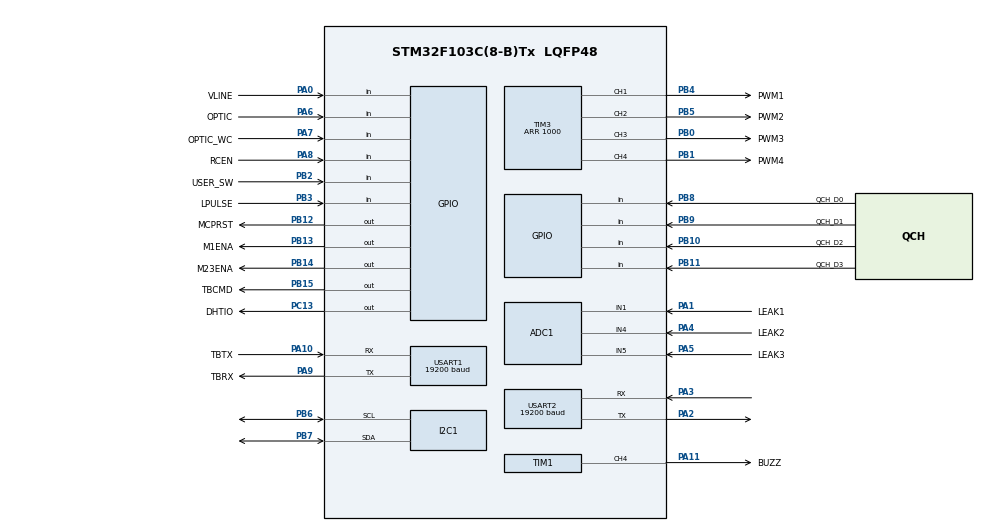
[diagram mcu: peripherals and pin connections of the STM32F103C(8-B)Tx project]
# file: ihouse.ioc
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ADC1.Channel-0\#ChannelRegularConversion=ADC_CHANNEL_1
ADC1.NbrOfConversionFlag=1
ADC1.Rank-0\#ChannelRegularConversion=1
ADC1.SamplingTime-0\#ChannelRegularConversion=ADC_SAMPLETIME_1CYCLE_5
ADC1.master=1
I2C1.DualAddressMode=I2C_DUALADDRESS_DISABLE
Mcu.Family=STM32F1
Mcu.Name=STM32F103C(8-B)Tx
Mcu.Package=LQFP48
NVIC.PriorityGroup=NVIC_PRIORITYGROUP_4
NVIC.TIM1_UP_IRQn=true\:0\:0\:false\:false\:true\:true\:true
NVIC.USART1_IRQn=true\:0\:0\:false\:false\:true\:true\:true
NVIC.USART2_IRQn=true\:0\:0\:false\:false\:true\:true\:true
PA0-WKUP.GPIO_Label=VLINE
PA0-WKUP.GPIO_PuPd=GPIO_PULLUP
PA0-WKUP.Signal=GPIO_Input
PA1.GPIO_Label=LEAK1
PA1.Signal=ADCx_IN1
PA10.GPIO_Label=TBTX
PA10.Mode=Asynchronous
PA10.Signal=USART1_RX
PA11.GPIO_Label=BUZZ
PA11.Signal=S_TIM1_CH4
PA13.Mode=Serial_Wire
PA13.Signal=SYS_JTMS-SWDIO
PA14.Mode=Serial_Wire
PA14.Signal=SYS_JTCK-SWCLK
PA2.Mode=Asynchronous
PA2.Signal=USART2_TX
PA3.Mode=Asynchronous
PA3.Signal=USART2_RX
PA4.GPIO_Label=LEAK2
PA4.Signal=ADCx_IN4
PA5.GPIO_Label=LEAK3
PA5.Signal=ADCx_IN5
PA6.GPIO_Label=OPTIC
PA6.GPIO_PuPd=GPIO_PULLUP
PA6.Signal=GPIO_Input
PA7.GPIO_Label=OPTIC_WC
PA7.GPIO_PuPd=GPIO_PULLUP
PA7.Signal=GPIO_Input
PA8.GPIO_Label=RCEN
PA8.GPIO_PuPd=GPIO_PULLUP
PA8.Signal=GPIO_Input
PA9.GPIO_Label=TBRX
PA9.Mode=Asynchronous
PA9.Signal=USART1_TX
PB0.GPIO_Label=PWM3
PB0.Signal=S_TIM3_CH3
PB1.GPIO_Label=PWM4
PB1.Signal=S_TIM3_CH4
PB10.GPIO_Label=QCH_D2
PB10.GPIO_PuPd=GPIO_PULLUP
PB10.Signal=GPIO_Input
PB11.GPIO_Label=QCH_D3
PB11.GPIO_PuPd=GPIO_PULLUP
PB11.Signal=GPIO_Input
PB12.GPIO_Label=MCPRST
PB12.GPIO_ModeDefaultOutputPP=GPIO_MODE_OUTPUT_PP
PB12.GPIO_PuPd=GPIO_NOPULL
PB12.PinState=GPIO_PIN_SET
PB12.Signal=GPIO_Output
PB13.GPIO_Label=M1ENA
PB13.GPIO_PuPd=GPIO_NOPULL
PB13.PinState=GPIO_PIN_SET
PB13.Signal=GPIO_Output
PB14.GPIO_Label=M23ENA
PB14.PinState=GPIO_PIN_SET
PB14.Signal=GPIO_Output
PB15.GPIO_Label=TBCMD
PB15.GPIO_ModeDefaultOutputPP=GPIO_MODE_OUTPUT_PP
PB15.PinState=GPIO_PIN_SET
PB15.Signal=GPIO_Output
PB2.GPIO_Label=USER_SW
PB2.GPIO_PuPd=GPIO_PULLUP
PB2.Signal=GPIO_Input
PB3.GPIO_Label=LPULSE
PB3.GPIO_PuPd=GPIO_PULLUP
PB3.Signal=GPIO_Input
PB4.GPIO_Label=PWM1
PB4.Signal=S_TIM3_CH1
PB5.GPIO_Label=PWM2
PB5.Signal=S_TIM3_CH2
PB6.Mode=I2C
PB6.Signal=I2C1_SCL
PB7.Mode=I2C
PB7.Signal=I2C1_SDA
PB8.GPIO_Label=QCH_D0
PB8.GPIO_PuPd=GPIO_PULLUP
PB8.Signal=GPIO_Input
PB9.GPIO_Label=QCH_D1
PB9.GPIO_PuPd=GPIO_PULLUP
PB9.Signal=GPIO_Input
PC13-TAMPER-RTC.GPIO_Label=DHTIO
PC13-TAMPER-RTC.GPIO_PuPd=GPIO_NOPULL
PC13-TAMPER-RTC.GPIO_Speed=GPIO_SPEED_FREQ_HIGH
PC13-TAMPER-RTC.PinState=GPIO_PIN_SET
PC13-TAMPER-RTC.Signal=GPIO_Output
PC14-OSC32_IN.Mode=LSE-External-Oscillator
PC14-OSC32_IN.Signal=RCC_OSC32_IN
PC15-OSC32_OUT.Mode=LSE-External-Oscillator
PC15-OSC32_OUT.Signal=RCC_OSC32_OUT
PD0-OSC_IN.Mode=HSE-External-Oscillator
PD0-OSC_IN.Signal=RCC_OSC_IN
PD1-OSC_OUT.Mode=HSE-External-Oscillator
PD1-OSC_OUT.Signal=RCC_OSC_OUT
ProjectManager.HeapSize=0x200
ProjectManager.StackSize=0x400
ProjectManager.TargetToolchain=Other Toolchains (GPDSC)
RCC.ADCPresc=RCC_ADCPCLK2_DIV8
RCC.AHBFreq_Value=48000000
RCC.APB1CLKDivider=RCC_HCLK_DIV2
RCC.APB1Freq_Value=24000000
RCC.APB1TimFreq_Value=48000000
RCC.APB2Freq_Value=48000000
RCC.APB2TimFreq_Value=48000000
RCC.HCLKFreq_Value=48000000
RCC.PLLMUL=RCC_PLL_MUL6
RCC.PLLSourceVirtual=RCC_PLLSOURCE_HSE
RCC.RTCClockSelection=RCC_RTCCLKSOURCE_LSE
RCC.SYSCLKFreq_VALUE=48000000
RCC.SYSCLKSource=RCC_SYSCLKSOURCE_PLLCLK
RCC.USBFreq_Value=48000000
SH.ADCx_IN1.0=ADC1_IN1,IN1
SH.ADCx_IN4.0=ADC1_IN4,IN4
SH.ADCx_IN5.0=ADC1_IN5,IN5
SH.S_TIM1_CH4.0=TIM1_CH4,PWM Generation4 CH4
SH.S_TIM3_CH1.0=TIM3_CH1,PWM Generation1 CH1
SH.S_TIM3_CH2.0=TIM3_CH2,PWM Generation2 CH2
SH.S_TIM3_CH3.0=TIM3_CH3,PWM Generation3 CH3
SH.S_TIM3_CH4.0=TIM3_CH4,PWM Generation4 CH4
TIM1.Channel-PWM\ Generation4\ CH4=TIM_CHANNEL_4
TIM1.Period=1000
TIM1.Pulse-PWM\ Generation4\ CH4=500
TIM3.Channel-PWM\ Generation1\ CH1=TIM_CHANNEL_1
TIM3.Channel-PWM\ Generation2\ CH2=TIM_CHANNEL_2
TIM3.Channel-PWM\ Generation3\ CH3=TIM_CHANNEL_3
TIM3.Channel-PWM\ Generation4\ CH4=TIM_CHANNEL_4
TIM3.Period=1000
USART1.BaudRate=19200
USART1.VirtualMode=VM_ASYNC
USART2.BaudRate=19200
USART2.VirtualMode=VM_ASYNC
VP_TIM1_VS_ClockSourceINT.Mode=Internal
VP_TIM1_VS_OPM.Mode=OPM_bit
board=custom

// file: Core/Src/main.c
/* USER CODE BEGIN Header */
/**
  ******************************************************************************
  * @file           : main.c
  * @brief          : Main program body
  ******************************************************************************
  ** This notice applies to any and all portions of this file
  * that are not between comment pairs USER CODE BEGIN and
  * USER CODE END. Other portions of this file, whether
  * inserted by the user or by software development tools
  * are owned by their respective copyright owners.
  *
  * COPYRIGHT(c) 2019 STMicroelectronics
  *
  * Redistribution and use in source and binary forms, with or without modification,
  * are permitted provided that the following conditions are met:
  *   1. Redistributions of source code must retain the above copyright notice,
  *      this list of conditions and the following disclaimer.
  *   2. Redistributions in binary form must reproduce the above copyright notice,
  *      this list of conditions and the following disclaimer in the documentation
  *      and/or other materials provided with the distribution.
  *   3. Neither the name of STMicroelectronics nor the names of its contributors
  *      may be used to endorse or promote products derived from this software
  *      without specific prior written permission.
  *
  * THIS SOFTWARE IS PROVIDED BY THE COPYRIGHT HOLDERS AND CONTRIBUTORS "AS IS"
  * AND ANY EXPRESS OR IMPLIED WARRANTIES, INCLUDING, BUT NOT LIMITED TO, THE
  * IMPLIED WARRANTIES OF MERCHANTABILITY AND FITNESS FOR A PARTICULAR PURPOSE ARE
  * DISCLAIMED. IN NO EVENT SHALL THE COPYRIGHT HOLDER OR CONTRIBUTORS BE LIABLE
  * FOR ANY DIRECT, INDIRECT, INCIDENTAL, SPECIAL, EXEMPLARY, OR CONSEQUENTIAL
  * DAMAGES (INCLUDING, BUT NOT LIMITED TO, PROCUREMENT OF SUBSTITUTE GOODS OR
  * SERVICES; LOSS OF USE, DATA, OR PROFITS; OR BUSINESS INTERRUPTION) HOWEVER
  * CAUSED AND ON ANY THEORY OF LIABILITY, WHETHER IN CONTRACT, STRICT LIABILITY,
  * OR TORT (INCLUDING NEGLIGENCE OR OTHERWISE) ARISING IN ANY WAY OUT OF THE USE
  * OF THIS SOFTWARE, EVEN IF ADVISED OF THE POSSIBILITY OF SUCH DAMAGE.
  *
  ******************************************************************************
  */
/* USER CODE END Header */

#include "main.h"

/* USER CODE BEGIN Includes */
#include "bsp.h"

#if defined(MODBUS_PORT)
#include "mb.h"
#include "user_mb_app.h"
#endif

/* USER CODE END Includes */

/* USER CODE BEGIN PV */
uint8_t eebuf[1000] = {0};

/* USER CODE END PV */

void SystemClock_Config(void);
static void MX_GPIO_Init(void);
static void MX_I2C1_Init(void);
static void MX_USART1_UART_Init(void);
static void MX_USART2_UART_Init(void);
static void MX_ADC1_Init(void);
static void MX_TIM3_Init(void);
static void MX_TIM1_Init(void);

/* USER CODE BEGIN 0 */
uint32_t timestamp = 0, time_cnt = 0;
uint8_t ds_status = 0;
/* USER CODE END 0 */

int main(void)
{
  /* USER CODE BEGIN 1 */
    static uint32_t delay = 0;

  /* USER CODE END 1 */

  /* MCU Configuration--------------------------------------------------------*/

  /* Reset of all peripherals, Initializes the Flash interface and the Systick. */

  LL_APB2_GRP1_EnableClock(LL_APB2_GRP1_PERIPH_AFIO);
  LL_APB1_GRP1_EnableClock(LL_APB1_GRP1_PERIPH_PWR);

  NVIC_SetPriorityGrouping(NVIC_PRIORITYGROUP_4);

  /* System interrupt init*/

  /** NOJTAG: JTAG-DP Disabled and SW-DP Enabled
  */
  LL_GPIO_AF_Remap_SWJ_NOJTAG();

  /* Configure the system clock */
  SystemClock_Config();

  /* USER CODE BEGIN SysInit */
    SysTick_Config(SystemCoreClock/1000);

  /* USER CODE END SysInit */

  /* Initialize all configured peripherals */
  MX_GPIO_Init();
  MX_I2C1_Init();
  MX_USART1_UART_Init();
  MX_USART2_UART_Init();
  MX_ADC1_Init();
  MX_TIM3_Init();
  MX_TIM1_Init();
  /* USER CODE BEGIN 2 */

    BSP_SystemInit(&SysData);

    ds_status = DS18B20_Init(DS_MODE_SKIP_ROM);

    DS18B20_MeasureTemperCmd(DS_MODE_SKIP_ROM, 0);
    Delay_ms(100);

    /* TB387 modulio inicializacija */
    //TB387_Init(&TB387);
    //TB387_SelectTarget(&TB387, TargetOne);

    //NEXTION_Init();

    //MCP23017_Init();

    //DCMOT_Init();

#if defined(MODBUS_PORT)
    eMBInit( MB_RTU, SysData.Ports[MODBUS_PORT].Config.MbAddr, MODBUS_PORT, baudrates[SysData.Ports[MODBUS_PORT].Config.Baudrate], SysData.Ports[MODBUS_PORT].Config.Parity );
    eMBSetSlaveID( 123, TRUE, ucSlaveIdBuf, (MB_FUNC_OTHER_REP_SLAVEID_BUF - 4) );
    eMBEnable();
#endif

  /* USER CODE END 2 */

  /* Infinite loop */
  /* USER CODE BEGIN WHILE */
    while (1) {

        if(delay < timestamp) {

            delay = timestamp + 100;

            BSP_SystemHandler();

            DS18B20_Process();

        }

#if defined(MODBUS_PORT)
        (void)eMBPoll();
#endif

    /* USER CODE END WHILE */

    /* USER CODE BEGIN 3 */

        if(NewMessageReceivedFlag) {

            NEXTION_CmdDecode(SysData.Ports[NEXTION_PORT].Registers.RxBuffer);

            NewMessageReceivedFlag = false;
            USART_ClearRxBuffer(PRIMARY_PORT);
        }

    }
  /* USER CODE END 3 */
}

void SystemClock_Config(void)
{
  LL_FLASH_SetLatency(LL_FLASH_LATENCY_1);

  if(LL_FLASH_GetLatency() != LL_FLASH_LATENCY_1)
  {
    Error_Handler();
  }
  LL_RCC_HSE_Enable();

   /* Wait till HSE is ready */
  while(LL_RCC_HSE_IsReady() != 1)
  {

  }
  LL_RCC_PLL_ConfigDomain_SYS(LL_RCC_PLLSOURCE_HSE_DIV_1, LL_RCC_PLL_MUL_6);
  LL_RCC_PLL_Enable();

   /* Wait till PLL is ready */
  while(LL_RCC_PLL_IsReady() != 1)
  {

  }
  LL_RCC_SetAHBPrescaler(LL_RCC_SYSCLK_DIV_1);
  LL_RCC_SetAPB1Prescaler(LL_RCC_APB1_DIV_2);
  LL_RCC_SetAPB2Prescaler(LL_RCC_APB2_DIV_1);
  LL_RCC_SetSysClkSource(LL_RCC_SYS_CLKSOURCE_PLL);

   /* Wait till System clock is ready */
  while(LL_RCC_GetSysClkSource() != LL_RCC_SYS_CLKSOURCE_STATUS_PLL)
  {

  }
  LL_Init1msTick(48000000);
  LL_SYSTICK_SetClkSource(LL_SYSTICK_CLKSOURCE_HCLK);
  LL_SetSystemCoreClock(48000000);
  LL_RCC_SetADCClockSource(LL_RCC_ADC_CLKSRC_PCLK2_DIV_8);
}

static void MX_ADC1_Init(void)
{

  LL_ADC_InitTypeDef ADC_InitStruct = {0};
  LL_ADC_CommonInitTypeDef ADC_CommonInitStruct = {0};
  LL_ADC_REG_InitTypeDef ADC_REG_InitStruct = {0};

  LL_GPIO_InitTypeDef GPIO_InitStruct = {0};

  /* Peripheral clock enable */
  LL_APB2_GRP1_EnableClock(LL_APB2_GRP1_PERIPH_ADC1);

  LL_APB2_GRP1_EnableClock(LL_APB2_GRP1_PERIPH_GPIOA);
  /**ADC1 GPIO Configuration
  PA1   ------> ADC1_IN1
  PA4   ------> ADC1_IN4
  PA5   ------> ADC1_IN5
  */
  GPIO_InitStruct.Pin = LEAK1_Pin|LEAK2_Pin|LEAK3_Pin;
  GPIO_InitStruct.Mode = LL_GPIO_MODE_ANALOG;
  LL_GPIO_Init(GPIOA, &GPIO_InitStruct);

  /** Common config
  */
  ADC_InitStruct.DataAlignment = LL_ADC_DATA_ALIGN_RIGHT;
  ADC_InitStruct.SequencersScanMode = LL_ADC_SEQ_SCAN_DISABLE;
  LL_ADC_Init(ADC1, &ADC_InitStruct);
  ADC_CommonInitStruct.Multimode = LL_ADC_MULTI_INDEPENDENT;
  LL_ADC_CommonInit(__LL_ADC_COMMON_INSTANCE(ADC1), &ADC_CommonInitStruct);
  ADC_REG_InitStruct.TriggerSource = LL_ADC_REG_TRIG_SOFTWARE;
  ADC_REG_InitStruct.SequencerLength = 1;
  ADC_REG_InitStruct.SequencerDiscont = LL_ADC_REG_SEQ_DISCONT_DISABLE;
  ADC_REG_InitStruct.ContinuousMode = LL_ADC_REG_CONV_SINGLE;
  ADC_REG_InitStruct.DMATransfer = LL_ADC_REG_DMA_TRANSFER_NONE;
  LL_ADC_REG_Init(ADC1, &ADC_REG_InitStruct);
  /** Configure Regular Channel
  */
  LL_ADC_REG_SetSequencerRanks(ADC1, LL_ADC_REG_RANK_1, LL_ADC_CHANNEL_1);
  LL_ADC_SetChannelSamplingTime(ADC1, LL_ADC_CHANNEL_1, LL_ADC_SAMPLINGTIME_1CYCLE_5);

}

static void MX_I2C1_Init(void)
{

  LL_I2C_InitTypeDef I2C_InitStruct = {0};

  LL_GPIO_InitTypeDef GPIO_InitStruct = {0};

  LL_APB2_GRP1_EnableClock(LL_APB2_GRP1_PERIPH_GPIOB);
  /**I2C1 GPIO Configuration
  PB6   ------> I2C1_SCL
  PB7   ------> I2C1_SDA
  */
  GPIO_InitStruct.Pin = LL_GPIO_PIN_6|LL_GPIO_PIN_7;
  GPIO_InitStruct.Mode = LL_GPIO_MODE_ALTERNATE;
  GPIO_InitStruct.Speed = LL_GPIO_SPEED_FREQ_HIGH;
  GPIO_InitStruct.OutputType = LL_GPIO_OUTPUT_OPENDRAIN;
  LL_GPIO_Init(GPIOB, &GPIO_InitStruct);

  /* Peripheral clock enable */
  LL_APB1_GRP1_EnableClock(LL_APB1_GRP1_PERIPH_I2C1);

  /** I2C Initialization
  */
  LL_I2C_DisableOwnAddress2(I2C1);
  LL_I2C_DisableGeneralCall(I2C1);
  LL_I2C_EnableClockStretching(I2C1);
  I2C_InitStruct.PeripheralMode = LL_I2C_MODE_I2C;
  I2C_InitStruct.ClockSpeed = 100000;
  I2C_InitStruct.DutyCycle = LL_I2C_DUTYCYCLE_2;
  I2C_InitStruct.OwnAddress1 = 0;
  I2C_InitStruct.TypeAcknowledge = LL_I2C_ACK;
  I2C_InitStruct.OwnAddrSize = LL_I2C_OWNADDRESS1_7BIT;
  LL_I2C_Init(I2C1, &I2C_InitStruct);
  LL_I2C_SetOwnAddress2(I2C1, 0);

}

static void MX_TIM1_Init(void)
{

  LL_TIM_InitTypeDef TIM_InitStruct = {0};
  LL_TIM_OC_InitTypeDef TIM_OC_InitStruct = {0};
  LL_TIM_BDTR_InitTypeDef TIM_BDTRInitStruct = {0};

  LL_GPIO_InitTypeDef GPIO_InitStruct = {0};

  /* Peripheral clock enable */
  LL_APB2_GRP1_EnableClock(LL_APB2_GRP1_PERIPH_TIM1);

  /* TIM1 interrupt Init */
  NVIC_SetPriority(TIM1_UP_IRQn, NVIC_EncodePriority(NVIC_GetPriorityGrouping(),0, 0));
  NVIC_EnableIRQ(TIM1_UP_IRQn);

  TIM_InitStruct.Prescaler = 0;
  TIM_InitStruct.CounterMode = LL_TIM_COUNTERMODE_UP;
  TIM_InitStruct.Autoreload = 1000;
  TIM_InitStruct.ClockDivision = LL_TIM_CLOCKDIVISION_DIV1;
  TIM_InitStruct.RepetitionCounter = 0;
  LL_TIM_Init(TIM1, &TIM_InitStruct);
  LL_TIM_DisableARRPreload(TIM1);
  LL_TIM_SetClockSource(TIM1, LL_TIM_CLOCKSOURCE_INTERNAL);
  LL_TIM_OC_EnablePreload(TIM1, LL_TIM_CHANNEL_CH4);
  TIM_OC_InitStruct.OCMode = LL_TIM_OCMODE_PWM1;
  TIM_OC_InitStruct.OCState = LL_TIM_OCSTATE_DISABLE;
  TIM_OC_InitStruct.OCNState = LL_TIM_OCSTATE_DISABLE;
  TIM_OC_InitStruct.CompareValue = 500;
  TIM_OC_InitStruct.OCPolarity = LL_TIM_OCPOLARITY_HIGH;
  TIM_OC_InitStruct.OCIdleState = LL_TIM_OCIDLESTATE_LOW;
  TIM_OC_InitStruct.OCNIdleState = LL_TIM_OCIDLESTATE_LOW;
  LL_TIM_OC_Init(TIM1, LL_TIM_CHANNEL_CH4, &TIM_OC_InitStruct);
  LL_TIM_OC_DisableFast(TIM1, LL_TIM_CHANNEL_CH4);
  LL_TIM_SetOnePulseMode(TIM1, LL_TIM_ONEPULSEMODE_SINGLE);
  LL_TIM_SetTriggerOutput(TIM1, LL_TIM_TRGO_RESET);
  LL_TIM_DisableMasterSlaveMode(TIM1);
  TIM_BDTRInitStruct.OSSRState = LL_TIM_OSSR_DISABLE;
  TIM_BDTRInitStruct.OSSIState = LL_TIM_OSSI_DISABLE;
  TIM_BDTRInitStruct.LockLevel = LL_TIM_LOCKLEVEL_OFF;
  TIM_BDTRInitStruct.DeadTime = 0;
  TIM_BDTRInitStruct.BreakState = LL_TIM_BREAK_DISABLE;
  TIM_BDTRInitStruct.BreakPolarity = LL_TIM_BREAK_POLARITY_HIGH;
  TIM_BDTRInitStruct.AutomaticOutput = LL_TIM_AUTOMATICOUTPUT_DISABLE;
  LL_TIM_BDTR_Init(TIM1, &TIM_BDTRInitStruct);
  LL_APB2_GRP1_EnableClock(LL_APB2_GRP1_PERIPH_GPIOA);
  /**TIM1 GPIO Configuration
  PA11   ------> TIM1_CH4
  */
  GPIO_InitStruct.Pin = BUZZ_Pin;
  GPIO_InitStruct.Mode = LL_GPIO_MODE_ALTERNATE;
  GPIO_InitStruct.Speed = LL_GPIO_SPEED_FREQ_LOW;
  GPIO_InitStruct.OutputType = LL_GPIO_OUTPUT_PUSHPULL;
  LL_GPIO_Init(BUZZ_GPIO_Port, &GPIO_InitStruct);

}

static void MX_TIM3_Init(void)
{

  LL_TIM_InitTypeDef TIM_InitStruct = {0};
  LL_TIM_OC_InitTypeDef TIM_OC_InitStruct = {0};

  LL_GPIO_InitTypeDef GPIO_InitStruct = {0};

  /* Peripheral clock enable */
  LL_APB1_GRP1_EnableClock(LL_APB1_GRP1_PERIPH_TIM3);

  TIM_InitStruct.Prescaler = 0;
  TIM_InitStruct.CounterMode = LL_TIM_COUNTERMODE_UP;
  TIM_InitStruct.Autoreload = 1000;
  TIM_InitStruct.ClockDivision = LL_TIM_CLOCKDIVISION_DIV1;
  LL_TIM_Init(TIM3, &TIM_InitStruct);
  LL_TIM_DisableARRPreload(TIM3);
  LL_TIM_OC_EnablePreload(TIM3, LL_TIM_CHANNEL_CH1);
  TIM_OC_InitStruct.OCMode = LL_TIM_OCMODE_PWM1;
  TIM_OC_InitStruct.OCState = LL_TIM_OCSTATE_DISABLE;
  TIM_OC_InitStruct.OCNState = LL_TIM_OCSTATE_DISABLE;
  TIM_OC_InitStruct.CompareValue = 0;
  TIM_OC_InitStruct.OCPolarity = LL_TIM_OCPOLARITY_HIGH;
  LL_TIM_OC_Init(TIM3, LL_TIM_CHANNEL_CH1, &TIM_OC_InitStruct);
  LL_TIM_OC_DisableFast(TIM3, LL_TIM_CHANNEL_CH1);
  LL_TIM_OC_EnablePreload(TIM3, LL_TIM_CHANNEL_CH2);
  TIM_OC_InitStruct.OCState = LL_TIM_OCSTATE_DISABLE;
  TIM_OC_InitStruct.OCNState = LL_TIM_OCSTATE_DISABLE;
  LL_TIM_OC_Init(TIM3, LL_TIM_CHANNEL_CH2, &TIM_OC_InitStruct);
  LL_TIM_OC_DisableFast(TIM3, LL_TIM_CHANNEL_CH2);
  LL_TIM_OC_EnablePreload(TIM3, LL_TIM_CHANNEL_CH3);
  TIM_OC_InitStruct.OCState = LL_TIM_OCSTATE_DISABLE;
  TIM_OC_InitStruct.OCNState = LL_TIM_OCSTATE_DISABLE;
  LL_TIM_OC_Init(TIM3, LL_TIM_CHANNEL_CH3, &TIM_OC_InitStruct);
  LL_TIM_OC_DisableFast(TIM3, LL_TIM_CHANNEL_CH3);
  LL_TIM_OC_EnablePreload(TIM3, LL_TIM_CHANNEL_CH4);
  TIM_OC_InitStruct.OCState = LL_TIM_OCSTATE_DISABLE;
  TIM_OC_InitStruct.OCNState = LL_TIM_OCSTATE_DISABLE;
  LL_TIM_OC_Init(TIM3, LL_TIM_CHANNEL_CH4, &TIM_OC_InitStruct);
  LL_TIM_OC_DisableFast(TIM3, LL_TIM_CHANNEL_CH4);
  LL_TIM_SetTriggerOutput(TIM3, LL_TIM_TRGO_RESET);
  LL_TIM_DisableMasterSlaveMode(TIM3);
  LL_APB2_GRP1_EnableClock(LL_APB2_GRP1_PERIPH_GPIOB);
  /**TIM3 GPIO Configuration
  PB0   ------> TIM3_CH3
  PB1   ------> TIM3_CH4
  PB4   ------> TIM3_CH1
  PB5   ------> TIM3_CH2
  */
  GPIO_InitStruct.Pin = PWM3_Pin|PWM4_Pin|PWM1_Pin|PWM2_Pin;
  GPIO_InitStruct.Mode = LL_GPIO_MODE_ALTERNATE;
  GPIO_InitStruct.Speed = LL_GPIO_SPEED_FREQ_LOW;
  GPIO_InitStruct.OutputType = LL_GPIO_OUTPUT_PUSHPULL;
  LL_GPIO_Init(GPIOB, &GPIO_InitStruct);

  LL_GPIO_AF_RemapPartial_TIM3();

}

static void MX_USART1_UART_Init(void)
{

  LL_USART_InitTypeDef USART_InitStruct = {0};

  LL_GPIO_InitTypeDef GPIO_InitStruct = {0};

  /* Peripheral clock enable */
  LL_APB2_GRP1_EnableClock(LL_APB2_GRP1_PERIPH_USART1);

  LL_APB2_GRP1_EnableClock(LL_APB2_GRP1_PERIPH_GPIOA);
  /**USART1 GPIO Configuration
  PA9   ------> USART1_TX
  PA10   ------> USART1_RX
  */
  GPIO_InitStruct.Pin = TBRX_Pin;
  GPIO_InitStruct.Mode = LL_GPIO_MODE_ALTERNATE;
  GPIO_InitStruct.Speed = LL_GPIO_SPEED_FREQ_HIGH;
  GPIO_InitStruct.OutputType = LL_GPIO_OUTPUT_PUSHPULL;
  LL_GPIO_Init(TBRX_GPIO_Port, &GPIO_InitStruct);

  GPIO_InitStruct.Pin = TBTX_Pin;
  GPIO_InitStruct.Mode = LL_GPIO_MODE_FLOATING;
  LL_GPIO_Init(TBTX_GPIO_Port, &GPIO_InitStruct);

  /* USART1 interrupt Init */
  NVIC_SetPriority(USART1_IRQn, NVIC_EncodePriority(NVIC_GetPriorityGrouping(),0, 0));
  NVIC_EnableIRQ(USART1_IRQn);

  USART_InitStruct.BaudRate = 19200;
  USART_InitStruct.DataWidth = LL_USART_DATAWIDTH_8B;
  USART_InitStruct.StopBits = LL_USART_STOPBITS_1;
  USART_InitStruct.Parity = LL_USART_PARITY_NONE;
  USART_InitStruct.TransferDirection = LL_USART_DIRECTION_TX_RX;
  USART_InitStruct.HardwareFlowControl = LL_USART_HWCONTROL_NONE;
  LL_USART_Init(USART1, &USART_InitStruct);
  LL_USART_ConfigAsyncMode(USART1);
  LL_USART_Enable(USART1);

}

static void MX_USART2_UART_Init(void)
{

  LL_USART_InitTypeDef USART_InitStruct = {0};

  LL_GPIO_InitTypeDef GPIO_InitStruct = {0};

  /* Peripheral clock enable */
  LL_APB1_GRP1_EnableClock(LL_APB1_GRP1_PERIPH_USART2);

  LL_APB2_GRP1_EnableClock(LL_APB2_GRP1_PERIPH_GPIOA);
  /**USART2 GPIO Configuration
  PA2   ------> USART2_TX
  PA3   ------> USART2_RX
  */
  GPIO_InitStruct.Pin = LL_GPIO_PIN_2;
  GPIO_InitStruct.Mode = LL_GPIO_MODE_ALTERNATE;
  GPIO_InitStruct.Speed = LL_GPIO_SPEED_FREQ_HIGH;
  GPIO_InitStruct.OutputType = LL_GPIO_OUTPUT_PUSHPULL;
  LL_GPIO_Init(GPIOA, &GPIO_InitStruct);

  GPIO_InitStruct.Pin = LL_GPIO_PIN_3;
  GPIO_InitStruct.Mode = LL_GPIO_MODE_FLOATING;
  LL_GPIO_Init(GPIOA, &GPIO_InitStruct);

  /* USART2 interrupt Init */
  NVIC_SetPriority(USART2_IRQn, NVIC_EncodePriority(NVIC_GetPriorityGrouping(),0, 0));
  NVIC_EnableIRQ(USART2_IRQn);

  USART_InitStruct.BaudRate = 19200;
  USART_InitStruct.DataWidth = LL_USART_DATAWIDTH_8B;
  USART_InitStruct.StopBits = LL_USART_STOPBITS_1;
  USART_InitStruct.Parity = LL_USART_PARITY_NONE;
  USART_InitStruct.TransferDirection = LL_USART_DIRECTION_TX_RX;
  USART_InitStruct.HardwareFlowControl = LL_USART_HWCONTROL_NONE;
  LL_USART_Init(USART2, &USART_InitStruct);
  LL_USART_ConfigAsyncMode(USART2);
  LL_USART_Enable(USART2);

}

static void MX_GPIO_Init(void)
{
  LL_GPIO_InitTypeDef GPIO_InitStruct = {0};

  /* GPIO Ports Clock Enable */
  LL_APB2_GRP1_EnableClock(LL_APB2_GRP1_PERIPH_GPIOC);
  LL_APB2_GRP1_EnableClock(LL_APB2_GRP1_PERIPH_GPIOD);
  LL_APB2_GRP1_EnableClock(LL_APB2_GRP1_PERIPH_GPIOA);
  LL_APB2_GRP1_EnableClock(LL_APB2_GRP1_PERIPH_GPIOB);

  /**/
  LL_GPIO_SetOutputPin(DHTIO_GPIO_Port, DHTIO_Pin);

  /**/
  LL_GPIO_SetOutputPin(GPIOB, MCPRST_Pin|M1ENA_Pin|M23ENA_Pin|TBCMD_Pin);

  /**/
  GPIO_InitStruct.Pin = DHTIO_Pin;
  GPIO_InitStruct.Mode = LL_GPIO_MODE_OUTPUT;
  GPIO_InitStruct.Speed = LL_GPIO_SPEED_FREQ_HIGH;
  GPIO_InitStruct.OutputType = LL_GPIO_OUTPUT_PUSHPULL;
  LL_GPIO_Init(DHTIO_GPIO_Port, &GPIO_InitStruct);

  /**/
  GPIO_InitStruct.Pin = VLINE_Pin|OPTIC_Pin|OPTIC_WC_Pin|RCEN_Pin;
  GPIO_InitStruct.Mode = LL_GPIO_MODE_INPUT;
  GPIO_InitStruct.Pull = LL_GPIO_PULL_UP;
  LL_GPIO_Init(GPIOA, &GPIO_InitStruct);

  /**/
  GPIO_InitStruct.Pin = USER_SW_Pin|QCH_D2_Pin|QCH_D3_Pin|LPULSE_Pin
                          |QCH_D0_Pin|QCH_D1_Pin;
  GPIO_InitStruct.Mode = LL_GPIO_MODE_INPUT;
  GPIO_InitStruct.Pull = LL_GPIO_PULL_UP;
  LL_GPIO_Init(GPIOB, &GPIO_InitStruct);

  /**/
  GPIO_InitStruct.Pin = MCPRST_Pin|M1ENA_Pin|M23ENA_Pin|TBCMD_Pin;
  GPIO_InitStruct.Mode = LL_GPIO_MODE_OUTPUT;
  GPIO_InitStruct.Speed = LL_GPIO_SPEED_FREQ_LOW;
  GPIO_InitStruct.OutputType = LL_GPIO_OUTPUT_PUSHPULL;
  LL_GPIO_Init(GPIOB, &GPIO_InitStruct);

}

void Error_Handler(void)
{
}

/************************ (C) COPYRIGHT STMicroelectronics *****END OF FILE****/
